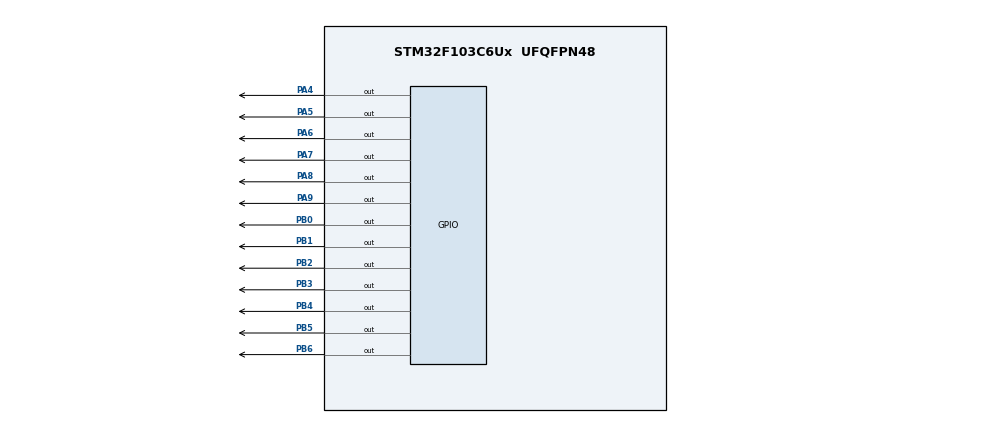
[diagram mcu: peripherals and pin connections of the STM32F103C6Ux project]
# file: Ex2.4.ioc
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Mcu.Family=STM32F1
Mcu.Name=STM32F103C6Ux
Mcu.Package=UFQFPN48
NVIC.PriorityGroup=NVIC_PRIORITYGROUP_4
NVIC.TIM2_IRQn=true\:0\:0\:false\:false\:true\:true\:true
PA4.Signal=GPIO_Output
PA5.Signal=GPIO_Output
PA6.Signal=GPIO_Output
PA7.Signal=GPIO_Output
PA8.Signal=GPIO_Output
PA9.Signal=GPIO_Output
PB0.Signal=GPIO_Output
PB1.Signal=GPIO_Output
PB2.Signal=GPIO_Output
PB3.Signal=GPIO_Output
PB4.Signal=GPIO_Output
PB5.Signal=GPIO_Output
PB6.Signal=GPIO_Output
ProjectManager.HeapSize=0x200
ProjectManager.StackSize=0x400
ProjectManager.TargetToolchain=STM32CubeIDE
RCC.APB1Freq_Value=8000000
RCC.APB2Freq_Value=8000000
TIM2.Period=9
TIM2.Prescaler=7999
VP_SYS_VS_ND.Mode=No_Debug
VP_TIM2_VS_ClockSourceINT.Mode=Internal
board=custom

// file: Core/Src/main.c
/* USER CODE BEGIN Header */
/**
 ******************************************************************************
 * @file           : main.c
 * @brief          : Main program body
 ******************************************************************************
 * @attention
 *
 * <h2><center>&copy; Copyright (c) 2022 STMicroelectronics.
 * All rights reserved.</center></h2>
 *
 * This software component is licensed by ST under BSD 3-Clause license,
 * the "License"; You may not use this file except in compliance with the
 * License. You may obtain a copy of the License at:
 *                        opensource.org/licenses/BSD-3-Clause
 *
 ******************************************************************************
 */
/* USER CODE END Header */
#include "main.h"

TIM_HandleTypeDef htim2;

void SystemClock_Config(void);
static void MX_GPIO_Init(void);
static void MX_TIM2_Init(void);

int main(void) {

	/* MCU Configuration--------------------------------------------------------*/

	/* Reset of all peripherals, Initializes the Flash interface and the Systick. */
	HAL_Init();

	/* Configure the system clock */
	SystemClock_Config();

	/* Initialize all configured peripherals */
	MX_GPIO_Init();
	MX_TIM2_Init();
	/* USER CODE BEGIN 2 */
	HAL_TIM_Base_Start_IT(&htim2);
	/* USER CODE END 2 */

	/* Infinite loop */
	while (1) {

	}
}

void SystemClock_Config(void) {
	RCC_OscInitTypeDef RCC_OscInitStruct = { 0 };
	RCC_ClkInitTypeDef RCC_ClkInitStruct = { 0 };

	/** Initializes the RCC Oscillators according to the specified parameters
	 * in the RCC_OscInitTypeDef structure.
	 */
	RCC_OscInitStruct.OscillatorType = RCC_OSCILLATORTYPE_HSI;
	RCC_OscInitStruct.HSIState = RCC_HSI_ON;
	RCC_OscInitStruct.HSICalibrationValue = RCC_HSICALIBRATION_DEFAULT;
	RCC_OscInitStruct.PLL.PLLState = RCC_PLL_NONE;
	if (HAL_RCC_OscConfig(&RCC_OscInitStruct) != HAL_OK) {
		Error_Handler();
	}
	/** Initializes the CPU, AHB and APB buses clocks
	 */
	RCC_ClkInitStruct.ClockType = RCC_CLOCKTYPE_HCLK | RCC_CLOCKTYPE_SYSCLK
			| RCC_CLOCKTYPE_PCLK1 | RCC_CLOCKTYPE_PCLK2;
	RCC_ClkInitStruct.SYSCLKSource = RCC_SYSCLKSOURCE_HSI;
	RCC_ClkInitStruct.AHBCLKDivider = RCC_SYSCLK_DIV1;
	RCC_ClkInitStruct.APB1CLKDivider = RCC_HCLK_DIV1;
	RCC_ClkInitStruct.APB2CLKDivider = RCC_HCLK_DIV1;

	if (HAL_RCC_ClockConfig(&RCC_ClkInitStruct, FLASH_LATENCY_0) != HAL_OK) {
		Error_Handler();
	}
}

static void MX_TIM2_Init(void) {

	TIM_ClockConfigTypeDef sClockSourceConfig = { 0 };
	TIM_MasterConfigTypeDef sMasterConfig = { 0 };

	htim2.Instance = TIM2;
	htim2.Init.Prescaler = 7999;
	htim2.Init.CounterMode = TIM_COUNTERMODE_UP;
	htim2.Init.Period = 9;
	htim2.Init.ClockDivision = TIM_CLOCKDIVISION_DIV1;
	htim2.Init.AutoReloadPreload = TIM_AUTORELOAD_PRELOAD_DISABLE;
	if (HAL_TIM_Base_Init(&htim2) != HAL_OK) {
		Error_Handler();
	}
	sClockSourceConfig.ClockSource = TIM_CLOCKSOURCE_INTERNAL;
	if (HAL_TIM_ConfigClockSource(&htim2, &sClockSourceConfig) != HAL_OK) {
		Error_Handler();
	}
	sMasterConfig.MasterOutputTrigger = TIM_TRGO_RESET;
	sMasterConfig.MasterSlaveMode = TIM_MASTERSLAVEMODE_DISABLE;
	if (HAL_TIMEx_MasterConfigSynchronization(&htim2, &sMasterConfig)
			!= HAL_OK) {
		Error_Handler();
	}

}

static void MX_GPIO_Init(void) {
	GPIO_InitTypeDef GPIO_InitStruct = { 0 };

	/* GPIO Ports Clock Enable */
	__HAL_RCC_GPIOA_CLK_ENABLE();
	__HAL_RCC_GPIOB_CLK_ENABLE();

	/*Configure GPIO pin Output Level */
	HAL_GPIO_WritePin(GPIOA,
			GPIO_PIN_4 | GPIO_PIN_5 | GPIO_PIN_6 | GPIO_PIN_7 | GPIO_PIN_8
					| GPIO_PIN_9, GPIO_PIN_RESET);

	/*Configure GPIO pin Output Level */
	HAL_GPIO_WritePin(GPIOB,
			GPIO_PIN_0 | GPIO_PIN_1 | GPIO_PIN_2 | GPIO_PIN_3 | GPIO_PIN_4
					| GPIO_PIN_5 | GPIO_PIN_6, GPIO_PIN_RESET);

	/*Configure GPIO pins : PA4 PA5 PA6 PA7
	 PA8 PA9 */
	GPIO_InitStruct.Pin = GPIO_PIN_4 | GPIO_PIN_5 | GPIO_PIN_6 | GPIO_PIN_7
			| GPIO_PIN_8 | GPIO_PIN_9;
	GPIO_InitStruct.Mode = GPIO_MODE_OUTPUT_PP;
	GPIO_InitStruct.Pull = GPIO_NOPULL;
	GPIO_InitStruct.Speed = GPIO_SPEED_FREQ_LOW;
	HAL_GPIO_Init(GPIOA, &GPIO_InitStruct);

	/*Configure GPIO pins : PB0 PB1 PB2 PB3
	 PB4 PB5 PB6 */
	GPIO_InitStruct.Pin = GPIO_PIN_0 | GPIO_PIN_1 | GPIO_PIN_2 | GPIO_PIN_3
			| GPIO_PIN_4 | GPIO_PIN_5 | GPIO_PIN_6;
	GPIO_InitStruct.Mode = GPIO_MODE_OUTPUT_PP;
	GPIO_InitStruct.Pull = GPIO_NOPULL;
	GPIO_InitStruct.Speed = GPIO_SPEED_FREQ_LOW;
	HAL_GPIO_Init(GPIOB, &GPIO_InitStruct);

}

/* USER CODE BEGIN 4 */
void display7SEG(int num) {
	char led7seg[10] = { 0x40, 0x79, 0x24, 0x30, 0x19, 0x92, 0x12, 0x78, 0x0,
			0x10 };
	for (int i = 0; i < 7; i++) {
		HAL_GPIO_WritePin(GPIOB, GPIO_PIN_0 << i, (led7seg[num] >> i) & 1);
	}
}

void clearLED() {
	HAL_GPIO_WritePin( GPIOA, GPIO_PIN_6 | GPIO_PIN_7 | GPIO_PIN_8 | GPIO_PIN_9,
			GPIO_PIN_SET);
	HAL_GPIO_WritePin( GPIOB, GPIO_PIN_0 | GPIO_PIN_1 | GPIO_PIN_2 |
	GPIO_PIN_3 | GPIO_PIN_4 | GPIO_PIN_5 |
	GPIO_PIN_6, GPIO_PIN_SET);
}

const int MAX_LED = 4;
int index_led = 0;
int led_buffer[4] = { 1, 2, 3, 4 };
void update7SEG(int index) {
	clearLED();
	switch (index) {
	case 0:
		// Display the first 7 SEG with led_buffer [0]
		HAL_GPIO_WritePin(GPIOA, GPIO_PIN_6, RESET);
		display7SEG(led_buffer[0]);
		break;
	case 1:
		// Display the second 7 SEG with led_buffer [1]
		HAL_GPIO_WritePin(GPIOA, GPIO_PIN_7, RESET);
		display7SEG(led_buffer[1]);
		break;
	case 2:
		// Display the third 7 SEG with led_buffer [2]
		HAL_GPIO_WritePin(GPIOA, GPIO_PIN_8, RESET);
		display7SEG(led_buffer[2]);
		break;
	case 3:
		// Display the forth 7 SEG with led_buffer [3]
		HAL_GPIO_WritePin(GPIOA, GPIO_PIN_9, RESET);
		display7SEG(led_buffer[3]);
		break;
	default:
		break;
	}
}
int counter = 50;
void HAL_TIM_PeriodElapsedCallback(TIM_HandleTypeDef *htim) {
	counter--;
	if (counter == 25 || counter == 0) {
		if (counter == 0) {
			counter = 50;
			HAL_GPIO_TogglePin( GPIOA, GPIO_PIN_4 | GPIO_PIN_5);
		}

		update7SEG(index_led);
		index_led++;
		if (index_led == MAX_LED)
			index_led = 0;
	}
}

/* USER CODE END 4 */

void Error_Handler(void) {
	__disable_irq();
	while (1) {
	}
}

/************************ (C) COPYRIGHT STMicroelectronics *****END OF FILE****/
